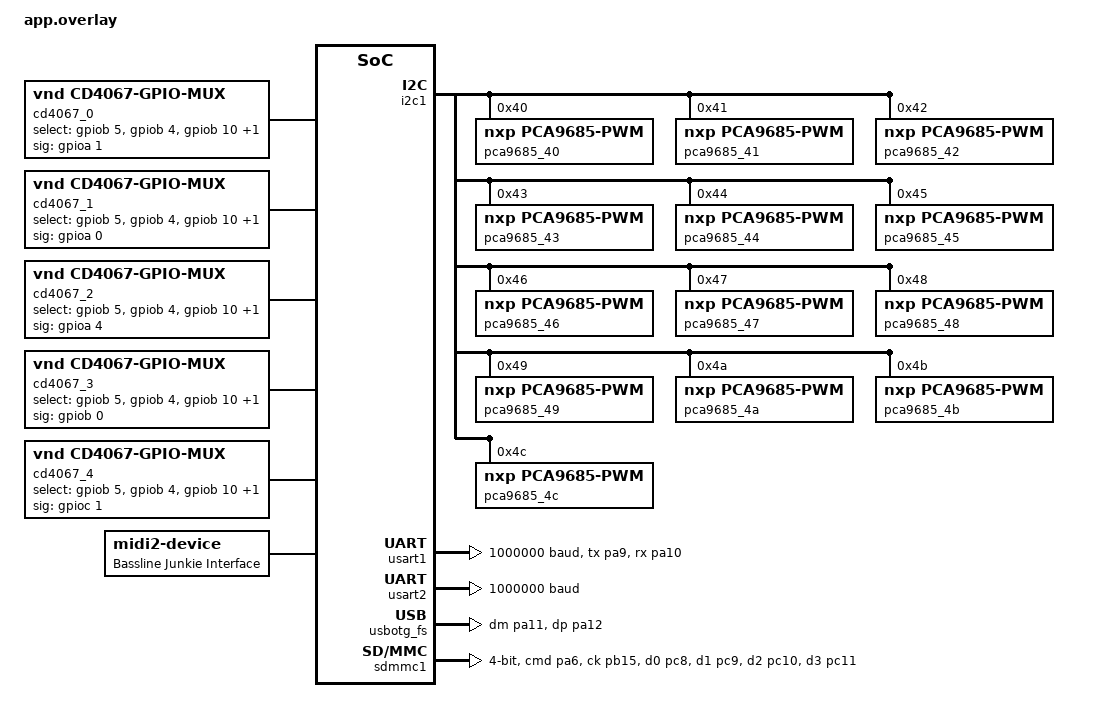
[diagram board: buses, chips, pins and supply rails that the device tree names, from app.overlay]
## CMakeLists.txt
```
cmake_minimum_required(VERSION 3.20.0)

list(APPEND ZEPHYR_EXTRA_MODULES ${CMAKE_CURRENT_SOURCE_DIR}/../cd4067)

find_package(Zephyr REQUIRED HINTS $ENV{ZEPHYR_BASE})
project(bassline_junkie_interface)

target_include_directories(app PRIVATE src)

target_sources(app PRIVATE
    src/PresetStorage.cpp
    src/blocks/Preset.cpp
    src/blocks/UI_BLOCK.cpp
    src/blocks/MOD.cpp
    src/Button.cpp
    src/Encoder.cpp
    src/Knob.cpp
    src/main.cpp
    src/MIDI.cpp
    src/LEDS.cpp
    src/MUX.cpp
    src/SDCard.cpp
    src/UART.cpp
    src/USB_MIDI.cpp
    src/usb_midi_init.c
    src/utils.cpp)
```

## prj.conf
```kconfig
CONFIG_GPIO=y
CONFIG_CD4067=y
CONFIG_CRC=y
CONFIG_MAIN_STACK_SIZE=4096
CONFIG_I2C=y
CONFIG_PWM=y
CONFIG_SERIAL=y
CONFIG_DISK_ACCESS=y
CONFIG_DISK_DRIVERS=y
CONFIG_DISK_DRIVER_SDMMC=y
CONFIG_FILE_SYSTEM=y
CONFIG_FAT_FILESYSTEM_ELM=y
CONFIG_FS_FATFS_LFN=y
CONFIG_CONSOLE=y
CONFIG_UART_CONSOLE=y
CONFIG_PRINTK=y
CONFIG_LOG=y
CONFIG_LOG_MODE_IMMEDIATE=y
CONFIG_USE_DT_CODE_PARTITION=y

# USB MIDI
CONFIG_USB_DEVICE_STACK_NEXT=y
CONFIG_USBD_MIDI2_CLASS=y
CONFIG_MIDI2_UMP_STREAM_RESPONDER=y
CONFIG_UDC_STM32=y
CONFIG_USBD_THREAD_STACK_SIZE=4096
CONFIG_USBD_LOG_LEVEL_WRN=y
CONFIG_UDC_DRIVER_LOG_LEVEL_ERR=y
```

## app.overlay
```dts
/ {
    aliases {
        mux0 = &cd4067_0;
        mux1 = &cd4067_1;
        mux2 = &cd4067_2;
        mux3 = &cd4067_3;
        mux4 = &cd4067_4;
    };

    cd4067_0: cd4067_mux {
        compatible = "vnd,cd4067-gpio-mux";
        status = "okay";
        select-gpios = <&gpiob 5 GPIO_ACTIVE_HIGH>,
                       <&gpiob 4 GPIO_ACTIVE_HIGH>,
                       <&gpiob 10 GPIO_ACTIVE_HIGH>,
                       <&gpioa 8 GPIO_ACTIVE_HIGH>;
        sig-gpios = <&gpioa 1 GPIO_ACTIVE_HIGH>;
    };

    cd4067_1: cd4067_mux_1 {
        compatible = "vnd,cd4067-gpio-mux";
        status = "okay";
        select-gpios = <&gpiob 5 GPIO_ACTIVE_HIGH>,
                       <&gpiob 4 GPIO_ACTIVE_HIGH>,
                       <&gpiob 10 GPIO_ACTIVE_HIGH>,
                       <&gpioa 8 GPIO_ACTIVE_HIGH>;
        sig-gpios = <&gpioa 0 GPIO_ACTIVE_HIGH>;
    };

    cd4067_2: cd4067_mux_2 {
        compatible = "vnd,cd4067-gpio-mux";
        status = "okay";
        select-gpios = <&gpiob 5 GPIO_ACTIVE_HIGH>,
                       <&gpiob 4 GPIO_ACTIVE_HIGH>,
                       <&gpiob 10 GPIO_ACTIVE_HIGH>,
                       <&gpioa 8 GPIO_ACTIVE_HIGH>;
        sig-gpios = <&gpioa 4 GPIO_ACTIVE_HIGH>;
    };

    cd4067_3: cd4067_mux_3 {
        compatible = "vnd,cd4067-gpio-mux";
        status = "okay";
        select-gpios = <&gpiob 5 GPIO_ACTIVE_HIGH>,
                       <&gpiob 4 GPIO_ACTIVE_HIGH>,
                       <&gpiob 10 GPIO_ACTIVE_HIGH>,
                       <&gpioa 8 GPIO_ACTIVE_HIGH>;
        sig-gpios = <&gpiob 0 GPIO_ACTIVE_HIGH>;
    };

    cd4067_4: cd4067_mux_4 {
        compatible = "vnd,cd4067-gpio-mux";
        status = "okay";
        select-gpios = <&gpiob 5 GPIO_ACTIVE_HIGH>,
                       <&gpiob 4 GPIO_ACTIVE_HIGH>,
                       <&gpiob 10 GPIO_ACTIVE_HIGH>,
                       <&gpioa 8 GPIO_ACTIVE_HIGH>;
        sig-gpios = <&gpioc 1 GPIO_ACTIVE_HIGH>;
    };
};

&i2c1 {
    status = "okay";

    pca9685_40: pca9685@40 {
        status = "okay";
        compatible = "nxp,pca9685-pwm";
        reg = <0x40>;
        #pwm-cells = <3>;
    };

    pca9685_41: pca9685@41 {
        status = "okay";
        compatible = "nxp,pca9685-pwm";
        reg = <0x41>;
        #pwm-cells = <3>;
    };

    pca9685_42: pca9685@42 {
        status = "okay";
        compatible = "nxp,pca9685-pwm";
        reg = <0x42>;
        #pwm-cells = <3>;
    };

    pca9685_43: pca9685@43 {
        status = "okay";
        compatible = "nxp,pca9685-pwm";
        reg = <0x43>;
        #pwm-cells = <3>;
    };

    pca9685_44: pca9685@44 {
        status = "okay";
        compatible = "nxp,pca9685-pwm";
        reg = <0x44>;
        #pwm-cells = <3>;
    };

    pca9685_45: pca9685@45 {
        status = "okay";
        compatible = "nxp,pca9685-pwm";
        reg = <0x45>;
        #pwm-cells = <3>;
    };

    pca9685_46: pca9685@46 {
        status = "okay";
        compatible = "nxp,pca9685-pwm";
        reg = <0x46>;
        #pwm-cells = <3>;
    };

    pca9685_47: pca9685@47 {
        status = "okay";
        compatible = "nxp,pca9685-pwm";
        reg = <0x47>;
        #pwm-cells = <3>;
    };

    pca9685_48: pca9685@48 {
        status = "okay";
        compatible = "nxp,pca9685-pwm";
        reg = <0x48>;
        #pwm-cells = <3>;
    };

    pca9685_49: pca9685@49 {
        status = "okay";
        compatible = "nxp,pca9685-pwm";
        reg = <0x49>;
        #pwm-cells = <3>;
    };

    pca9685_4a: pca9685@4a {
        status = "okay";
        compatible = "nxp,pca9685-pwm";
        reg = <0x4a>;
        #pwm-cells = <3>;
    };

    pca9685_4b: pca9685@4b {
        status = "okay";
        compatible = "nxp,pca9685-pwm";
        reg = <0x4b>;
        #pwm-cells = <3>;
    };

    pca9685_4c: pca9685@4c {
        status = "okay";
        compatible = "nxp,pca9685-pwm";
        reg = <0x4c>;
        #pwm-cells = <3>;
    };
};

&usart1 {
    pinctrl-0 = <&usart1_tx_pa9 &usart1_rx_pa10>;
    pinctrl-names = "default";
    current-speed = <1000000>;
    status = "okay";
};

&usart2 {
    current-speed = <1000000>;
};

&usbotg_fs {
    pinctrl-0 = <&usb_otg_fs_dm_pa11 &usb_otg_fs_dp_pa12>;
    pinctrl-names = "default";
    status = "okay";
};

&spi1 {
    status = "disabled";
};

&sdmmc1 {
    pinctrl-0 = <&sdio_cmd_pa6 &sdio_ck_pb15
                 &sdio_d0_pc8 &sdio_d1_pc9
                 &sdio_d2_pc10 &sdio_d3_pc11>;
    pinctrl-names = "default";
    bus-width = <4>;
    clk-div = <1>;
    status = "okay";
    disk-name = "SD";
};

/ {
    usb_midi: usb_midi {
        compatible = "zephyr,midi2-device";
        status = "okay";
        #address-cells = <1>;
        #size-cells = <1>;
        label = "Bassline Junkie Interface";

        midi_in_out@0 {
            reg = <0 1>;
            protocol = "midi1-up-to-128b";
            label = "MIDI";
        };
    };
};
```

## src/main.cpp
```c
#include <zephyr/devicetree.h>
#include <zephyr/drivers/gpio.h>
#include <zephyr/kernel.h>
#include <zephyr/logging/log.h>

#include "blocks/OSC.h"
#include "blocks/ADSR.h"
#include "blocks/LFO.h"
#include "blocks/FLT.h"
#include "blocks/MOD.h"
#include "blocks/LED_DISP.h"
#include "blocks/VOL.h"
#include "PresetStorage.h"
#include "blocks/Preset.h"
#include "MUX.h"
#include "LEDS.h"
#include "MIDI.h"
#include "UART.h"
#include "USB_MIDI.h"
#include "SDCard.h"

LOG_MODULE_REGISTER(app, LOG_LEVEL_INF);

#define LED0_NODE DT_ALIAS(led0)

#if !DT_NODE_HAS_STATUS(LED0_NODE, okay)
#error "This board does not define a usable led0 alias"
#endif

static const struct gpio_dt_spec led = GPIO_DT_SPEC_GET(LED0_NODE, gpios);

static const size_t input_thread_stack_size = 10240U;
static const int input_thread_priority = -1;
static const int input_poll_interval_ms = 5;
K_THREAD_STACK_DEFINE(input_thread_stack, input_thread_stack_size);
static struct k_thread input_thread_data;
static K_SEM_DEFINE(input_thread_started, 0, 1);

static int input_thread_status = 0;

static void input_thread(void *p1, void *, void *) {
    UART uart1;
    MIDI midi;
    USB_MIDI usb_midi;
    MUX mux;
    LEDSController leds;
    OSC osc;
    ADSR adsr;
    LFO lfo;
    FLT flt;
    MOD mod;
    LED_DISP led_disp;
    VOL vol;
    SDCard sd_card;
    PresetStorage preset_storage;
    Preset preset;

    int ret = mux.init();
    if (ret < 0) {
        LOG_ERR("Failed to initialize input mux: %d", ret);
        input_thread_status = ret;
        k_sem_give(&input_thread_started);
        return;
    }
    ret = leds.init();
    if (ret < 0) {
        LOG_ERR("Failed to initialize LED controller: %d", ret);
        input_thread_status = ret;
        k_sem_give(&input_thread_started);
        return;
    }
    led_disp.init(leds);

    ret = sd_card.init();
    if (ret == 0) ret = preset_storage.init(sd_card);
    if (ret < 0) {
        LOG_ERR("Required SD preset storage is unavailable: %d", ret);
        led_disp.show_error_latched();
        input_thread_status = ret;
        k_sem_give(&input_thread_started);
        while (1) k_msleep(1000);
    }

    ret = uart1.init();
    if (ret < 0) {
        LOG_ERR("Failed to initialize UART1: %d", ret);
        input_thread_status = ret;
        k_sem_give(&input_thread_started);
        return;
    }
    ret = midi.init(uart1);
    if (ret < 0) {
        LOG_ERR("Failed to initialize MIDI transport: %d", ret);
        input_thread_status = ret;
        k_sem_give(&input_thread_started);
        return;
    }

    ret = usb_midi.init();
    if (ret < 0) {
        LOG_ERR("Failed to initialize USB MIDI: %d", ret);
        input_thread_status = ret;
        k_sem_give(&input_thread_started);
        return;
    }

    led_disp.wait_for_dsp(uart1);

    osc.init(midi, leds, mux, led_disp);
    adsr.init(midi, leds, mux, led_disp);
    lfo.init(midi, leds, mux, led_disp);
    flt.init(midi, leds, mux, led_disp);
    osc.bind_mod_capture(mod);
    flt.bind_mod_capture(mod);
    mod.init(midi, leds, mux, osc, flt, led_disp);
    vol.init(midi, leds, mux, led_disp);
    ret = preset.init(preset_storage, midi, leds, mux, led_disp, adsr, flt, lfo, mod, osc, vol);
    if (ret < 0) {
        LOG_ERR("Failed to initialize presets: %d", ret);
        led_disp.show_error_latched();
        input_thread_status = ret;
        k_sem_give(&input_thread_started);
        while (1) k_msleep(1000);
    }

    input_thread_status = 0;
    k_sem_give(&input_thread_started);

    while (1) {
        ret = mux.update();
        if (ret < 0) {
            LOG_ERR("Failed to read inputs: %d", ret);
            return;
        }

        mod.update();
        osc.update();
        adsr.update();
        lfo.update();
        flt.update();
        vol.update();
        mod.poll_mod_destination_selection();
        led_disp.update();
        preset.update();

        USB_MIDI::Message usb_msg;
        while (usb_midi.receive(&usb_msg) == 0) {
            switch (usb_msg.command) {
            case 0x9U:
                midi.send_note_on(usb_msg.data1, usb_msg.data2,
                                  usb_msg.channel);
                break;
            case 0x8U:
                midi.send_note_off(usb_msg.data1, usb_msg.data2,
                                   usb_msg.channel);
                break;
            case 0xBU:
                midi.send_cc(usb_msg.data1, usb_msg.data2,
                             usb_msg.channel);
                break;
            default:
                break;
            }
        }

        k_msleep(input_poll_interval_ms);
    }
}

int main(void)
{
    int ret;
    if (!gpio_is_ready_dt(&led)) {
        LOG_ERR("LED GPIO device is not ready");
        return 0;
    }

    ret = gpio_pin_configure_dt(&led, GPIO_OUTPUT_INACTIVE);
    if (ret < 0) {
        LOG_ERR("Failed to configure LED pin: %d", ret);
        return 0;
    }

    LOG_INF("Bassline Junkie Interface");
    LOG_INF("Console TX ready on ttyACM0");

    k_thread_create(&input_thread_data,
                    input_thread_stack,
                    K_THREAD_STACK_SIZEOF(input_thread_stack),
                    input_thread,
                    nullptr,
                    nullptr,
                    nullptr,
                    input_thread_priority,
                    0,
                    K_NO_WAIT);

    k_sem_take(&input_thread_started, K_FOREVER);
    if (input_thread_status < 0) {
        return 0;
    }

    while (1) {
        ret = gpio_pin_toggle_dt(&led);
        if (ret < 0) {
            LOG_ERR("Failed to toggle LED: %d", ret);
            return 0;
        }

        k_msleep(1000);
    }
}
```

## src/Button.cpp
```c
#include "Button.h"

#include <errno.h>

static const uint8_t button_led_off_percent = 0U;
static const uint8_t button_led_on_percent = 100U;

int Button::init(MUX &inputs, const Config &config, LEDSController &leds)
{
    if ((config.mux_index >= MUX::mux_count) ||
        (config.pin >= 16U) ||
        (config.led_number >= LEDSController::led_count)) {
        return -EINVAL;
    }

    inputs_ = &inputs;
    leds_ = &leds;
    mux_index_ = config.mux_index;
    pin_ = config.pin;
    led_number_ = config.led_number;
    pressed_ = false;

    return set_led_val(button_led_off_percent);
}

int Button::update(button_msg &msg)
{
    msg = {};

    if (inputs_ == nullptr) {
        return -EACCES;
    }

    const bool previous_pressed = pressed_;
    const uint16_t state = inputs_->state(mux_index_);
    pressed_ = ((state >> pin_) & 0x1U) == 0U;
    msg.switch_changed = (pressed_ != previous_pressed);

    return 0;
}

bool Button::get_state() const
{
    return pressed_;
}

int Button::set_led_val(uint8_t percent)
{
    if (leds_ == nullptr) {
        return -EACCES;
    }

    return leds_->set_channel_percent(led_number_, percent);
}
```

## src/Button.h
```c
#ifndef SRC_BUTTON_H_
#define SRC_BUTTON_H_

#include "MUX.h"
#include "LEDS.h"

#include <stddef.h>
#include <stdint.h>

/**
 * @brief Tracks one active-low button sourced from one cached input bit.
 *
 * The button is bound to one cached mux state inside an @ref MUX
 * and one LED channel inside an @ref LEDSController through @ref init, then
 * advanced by calling @ref update repeatedly after the controller has
 * refreshed its cached inputs.
 */
class Button {
public:
    /**
     * @brief Reports which button outputs changed during one @ref update call.
     */
    struct button_msg {
        /** @brief Set when the sampled button state changed. */
        bool switch_changed = false;
    };

    /**
     * @brief Groups the button-specific binding parameters.
     */
    struct Config {
        /** @brief Cached mux index containing the button bit. */
        size_t mux_index = 0U;

        /** @brief Channel number used for the button source bit. */
        uint8_t pin = 0U;

        /** @brief Global LED channel assigned to this button. */
        size_t led_number = 0U;
    };

    /**
     * @brief Binds the button to one cached mux state, one source channel, and one LED.
     *
     * The caller retains ownership of @p inputs and @p leds and must keep both
     * alive and initialized for the lifetime of this button instance.
     *
     * @param inputs Mux holding the cached input masks.
     * @param config Button-specific channel and LED configuration.
     * @param leds LED controller used to mirror the button state.
     *
     * @retval 0 The button configuration is valid and the LED was cleared.
     * @retval -EINVAL The mux index, channel number, or LED channel is out of range.
     * @retval negative Error propagated from @ref LEDSController::set_channel_percent.
     */
    int init(MUX &inputs, const Config &config, LEDSController &leds);

    /**
     * @brief Reads the configured cached mux state and advances the button state.
     *
     * @param msg Per-update change flags populated from the latest sampled
     *        button state.
     *
     * @retval 0 The cached mux state was read and @p msg was filled in.
     * @retval -EACCES The button has not been initialized.
     */
    int update(button_msg &msg);

    /**
     * @brief Returns the current sampled button state.
     *
     * @return `true` when the configured raw input bit is `0` (pressed),
     *         otherwise `false`.
     */
    bool get_state() const;

    /**
     * @brief Drives the LED assigned to this button.
     *
     * @param percent Brightness percentage in the range `[0, 100]`.
     *
     * @retval 0 The LED was updated successfully.
     * @retval -EACCES The button LED binding has not been initialized.
     * @retval negative Error propagated from @ref LEDSController::set_channel_percent.
     */
    int set_led_val(uint8_t percent);

private:
    /** @brief Borrowed mux used to read cached input states. */
    MUX *inputs_ = nullptr;

    /** @brief Borrowed LED controller used to mirror the button state. */
    LEDSController *leds_ = nullptr;

    /** @brief Index of the configured cached mux state inside @ref inputs_. */
    size_t mux_index_ = 0U;

    /** @brief MUX channel number carrying the button bit. */
    uint8_t pin_ = 0U;

    /** @brief Global LED channel assigned to this button. */
    size_t led_number_ = 0U;

    /** @brief Current sampled button state. */
    bool pressed_ = false;
};

#endif /* SRC_BUTTON_H_ */
```

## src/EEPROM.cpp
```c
#include "EEPROM.h"

#include <errno.h>
#include <stddef.h>
#include <string.h>

#include <array>

#include <zephyr/logging/log.h>
#include <zephyr/storage/flash_map.h>
#include <zephyr/sys/crc.h>
#include <zephyr/sys/util.h>

LOG_MODULE_REGISTER(EEPROM, LOG_LEVEL_INF);

namespace {

constexpr uint32_t record_magic = 0x42535052U;
constexpr uint16_t record_version = PresetSnapshot::version;
constexpr uint8_t record_kind_preset = 0U;
constexpr uint8_t record_kind_startup_slot = 1U;
constexpr size_t record_header_size = sizeof(uint32_t) + sizeof(uint16_t) + sizeof(uint8_t) +
                                      sizeof(uint8_t) + sizeof(uint8_t);
constexpr size_t record_prefix_size = record_header_size + sizeof(PresetSnapshot);
constexpr size_t record_startup_prefix_size = record_header_size;
constexpr size_t min_record_storage_size = record_prefix_size + sizeof(uint32_t);
constexpr size_t max_record_storage_size = 1024U;

struct SlotCache {
    std::array<PresetSnapshot, EEPROM::preset_count> snapshots = {};
    std::array<uint8_t, EEPROM::preset_count / 8U> valid_mask = {};
    uint8_t startup_slot = 0U;
    bool startup_slot_valid = false;
};

static SlotCache cache = {};
static size_t next_record_offset = 0U;
static bool needs_compaction = false;

bool slot_is_valid(uint8_t index)
{
    const size_t byte_index = index / 8U;
    const uint8_t bit_mask = static_cast<uint8_t>(1U << (index % 8U));
    return (cache.valid_mask[byte_index] & bit_mask) != 0U;
}

void set_slot_valid(uint8_t index)
{
    const size_t byte_index = index / 8U;
    const uint8_t bit_mask = static_cast<uint8_t>(1U << (index % 8U));
    cache.valid_mask[byte_index] |= bit_mask;
}

void clear_cache()
{
    cache = {};
    next_record_offset = 0U;
    needs_compaction = false;
}

size_t record_storage_size(const struct flash_area *flash_area)
{
    return ROUND_UP(min_record_storage_size, flash_area_align(flash_area));
}

bool is_erased_bytes(const uint8_t *bytes, size_t length, uint8_t erased_value)
{
    for (size_t i = 0U; i < length; ++i) {
        if (bytes[i] != erased_value) {
            return false;
        }
    }

    return true;
}

uint32_t record_crc(const uint8_t *bytes, size_t length)
{
    return crc32_ieee(bytes, length);
}

bool read_record(const struct flash_area *flash_area,
                 size_t offset,
                 size_t storage_size,
                 uint8_t erased_value,
                 uint8_t *buffer)
{
    if (flash_area_read(flash_area, static_cast<off_t>(offset), buffer, storage_size) < 0) {
        return false;
    }

    return !is_erased_bytes(buffer, storage_size, erased_value);
}

enum class record_validation_result : uint8_t {
    valid,
    old_version,
    invalid,
};

record_validation_result validate_record(const uint8_t *buffer,
                                         size_t storage_size,
                                         uint8_t &kind,
                                         uint8_t &slot)
{
    uint32_t magic = 0U;
    uint16_t version = 0U;
    uint8_t read_kind = 0U;
    uint8_t read_slot = 0U;
    uint8_t reserved = 0U;
    uint32_t stored_crc = 0U;

    size_t offset = 0U;
    memcpy(&magic, buffer + offset, sizeof(magic));
    offset += sizeof(magic);
    memcpy(&version, buffer + offset, sizeof(version));
    offset += sizeof(version);
    memcpy(&read_kind, buffer + offset, sizeof(read_kind));
    offset += sizeof(read_kind);
    memcpy(&read_slot, buffer + offset, sizeof(read_slot));
    offset += sizeof(read_slot);
    memcpy(&reserved, buffer + offset, sizeof(reserved));
    offset += sizeof(reserved);

    if ((magic != record_magic) || (read_slot >= EEPROM::preset_count)) {
        return record_validation_result::invalid;
    }

    if (version != record_version) {
        return record_validation_result::old_version;
    }

    const size_t crc_offset = (read_kind == record_kind_preset)
        ? record_prefix_size
        : (read_kind == record_kind_startup_slot)
              ? record_startup_prefix_size
              : 0U;
    if ((crc_offset == 0U) || (reserved != 0U) ||
        (storage_size < (crc_offset + sizeof(stored_crc)))) {
        return record_validation_result::invalid;
    }
    memcpy(&stored_crc, buffer + crc_offset, sizeof(stored_crc));

    kind = read_kind;
    slot = read_slot;

    const uint32_t computed_crc = record_crc(buffer, crc_offset);
    return (computed_crc == stored_crc)
        ? record_validation_result::valid
        : record_validation_result::invalid;
}

void write_record_header(uint8_t *buffer, uint8_t kind, uint8_t slot, size_t &write_offset)
{
    const uint32_t magic = record_magic;
    const uint16_t version = record_version;
    const uint8_t reserved = 0U;

    memcpy(buffer + write_offset, &magic, sizeof(magic));
    write_offset += sizeof(magic);
    memcpy(buffer + write_offset, &version, sizeof(version));
    write_offset += sizeof(version);
    memcpy(buffer + write_offset, &kind, sizeof(kind));
    write_offset += sizeof(kind);
    memcpy(buffer + write_offset, &slot, sizeof(slot));
    write_offset += sizeof(slot);
    memcpy(buffer + write_offset, &reserved, sizeof(reserved));
    write_offset += sizeof(reserved);
}

void unpack_snapshot(const uint8_t *buffer, PresetSnapshot &snapshot)
{
    const size_t offset = record_header_size;
    memcpy(&snapshot, buffer + offset, sizeof(PresetSnapshot));
}

int write_preset_record(const struct flash_area *flash_area,
                        size_t offset,
                        uint8_t slot,
                        const PresetSnapshot &snapshot)
{
    const size_t storage_size = record_storage_size(flash_area);
    if (storage_size > max_record_storage_size) {
        return -ENOTSUP;
    }

    std::array<uint8_t, max_record_storage_size> buffer = {};
    buffer.fill(flash_area_erased_val(flash_area));

    size_t write_offset = 0U;
    const uint8_t kind = record_kind_preset;
    write_record_header(buffer.data(), kind, slot, write_offset);
    memcpy(buffer.data() + write_offset, &snapshot, sizeof(snapshot));

    const uint32_t crc = record_crc(buffer.data(), record_prefix_size);
    memcpy(buffer.data() + record_prefix_size, &crc, sizeof(crc));

    return flash_area_write(flash_area,
                            static_cast<off_t>(offset),
                            buffer.data(),
                            storage_size);
}

int write_startup_record(const struct flash_area *flash_area, size_t offset, uint8_t slot)
{
    const size_t storage_size = record_storage_size(flash_area);
    if (storage_size > max_record_storage_size) {
        return -ENOTSUP;
    }

    std::array<uint8_t, max_record_storage_size> buffer = {};
    buffer.fill(flash_area_erased_val(flash_area));

    size_t write_offset = 0U;
    const uint8_t kind = record_kind_startup_slot;
    write_record_header(buffer.data(), kind, slot, write_offset);

    const uint32_t crc = record_crc(buffer.data(), record_startup_prefix_size);
    memcpy(buffer.data() + record_startup_prefix_size, &crc, sizeof(crc));

    return flash_area_write(flash_area,
                            static_cast<off_t>(offset),
                            buffer.data(),
                            storage_size);
}

int compact_log(const struct flash_area *flash_area)
{
    int ret = flash_area_erase(flash_area, 0, flash_area->fa_size);
    if (ret < 0) {
        return ret;
    }

    const size_t storage_size = record_storage_size(flash_area);
    size_t offset = 0U;

    for (uint8_t slot = 0U; slot < EEPROM::preset_count; ++slot) {
        if (!slot_is_valid(slot)) {
            continue;
        }

        ret = write_preset_record(flash_area, offset, slot, cache.snapshots[slot]);
        if (ret < 0) {
            return ret;
        }

        offset += storage_size;
    }

    if (cache.startup_slot_valid) {
        ret = write_startup_record(flash_area, offset, cache.startup_slot);
        if (ret < 0) {
            return ret;
        }

        offset += storage_size;
    }

    next_record_offset = offset;
    needs_compaction = false;
    return 0;
}

int ensure_append_space(const struct flash_area *flash_area, size_t storage_size)
{
    const bool has_space = (next_record_offset + storage_size) <= flash_area->fa_size;
    if (!needs_compaction && has_space) {
        return 0;
    }

    const int ret = compact_log(flash_area);
    if (ret < 0) {
        LOG_ERR("Failed to compact preset log: %d", ret);
    }
    return ret;
}

} // namespace

int EEPROM::init()
{
    initialized_ = false;
    flash_area_ = nullptr;

    int ret = flash_area_open(FIXED_PARTITION_ID(preset_partition), &flash_area_);
    if (ret < 0) {
        LOG_ERR("Failed to open preset partition: %d", ret);
        clear_cache();
        return ret;
    }

    if (!flash_area_device_is_ready(flash_area_)) {
        LOG_ERR("Preset partition device is not ready");
        clear_cache();
        return -ENODEV;
    }

    const size_t storage_size = record_storage_size(flash_area_);
    if ((storage_size == 0U) || (storage_size > max_record_storage_size) ||
        (storage_size * (EEPROM::preset_count + 1U) > flash_area_->fa_size)) {
        LOG_ERR("Preset record size is invalid for partition");
        clear_cache();
        return -ENOSPC;
    }

    clear_cache();

    std::array<uint8_t, max_record_storage_size> buffer = {};
    const uint8_t erased_value = flash_area_erased_val(flash_area_);
    size_t old_version_records = 0U;
    size_t invalid_records = 0U;

    for (size_t offset = 0U; (offset + storage_size) <= flash_area_->fa_size; offset += storage_size) {
        if (!read_record(flash_area_, offset, storage_size, erased_value, buffer.data())) {
            continue;
        }

        uint8_t kind = 0U;
        uint8_t slot = 0U;
        const record_validation_result validation =
            validate_record(buffer.data(), storage_size, kind, slot);
        if (validation != record_validation_result::valid) {
            needs_compaction = true;

            if (validation == record_validation_result::old_version) {
                ++old_version_records;
            } else {
                ++invalid_records;
            }
            continue;
        }

        if (kind == record_kind_preset) {
            unpack_snapshot(buffer.data(), cache.snapshots[slot]);
            set_slot_valid(slot);
        } else if (kind == record_kind_startup_slot) {
            cache.startup_slot = slot;
            cache.startup_slot_valid = true;
        }
        next_record_offset = offset + storage_size;
    }

    if (needs_compaction) {
        if ((old_version_records > 0U) || (invalid_records > 0U)) {
            LOG_WRN("Compacting preset log, skipping %u old-version and %u invalid records",
                    static_cast<unsigned int>(old_version_records),
                    static_cast<unsigned int>(invalid_records));
        }

        ret = compact_log(flash_area_);
        if (ret < 0) {
            LOG_ERR("Failed to compact preset log during init: %d", ret);
            clear_cache();
            return ret;
        }
    }

    initialized_ = true;
    LOG_INF("Loaded preset log from flash");
    return 0;
}

int EEPROM::load(uint8_t index, PresetSnapshot &snapshot) const
{
    if (index >= EEPROM::preset_count) {
        return -EINVAL;
    }

    if (!initialized_ || !slot_is_valid(index)) {
        snapshot = default_preset_snapshot();
        return 0;
    }

    snapshot = cache.snapshots[index];
    return 0;
}

int EEPROM::save(uint8_t index, const PresetSnapshot &snapshot)
{
    if (index >= EEPROM::preset_count) {
        return -EINVAL;
    }

    if (!initialized_) {
        return -EACCES;
    }

    const size_t storage_size = record_storage_size(flash_area_);
    const int ret = ensure_append_space(flash_area_, storage_size);
    if (ret < 0) {
        return ret;
    }

    const int write_ret = write_preset_record(flash_area_, next_record_offset, index, snapshot);
    if (write_ret < 0) {
        LOG_ERR("Failed to append preset record: %d", write_ret);
        return write_ret;
    }

    cache.snapshots[index] = snapshot;
    set_slot_valid(index);
    next_record_offset += storage_size;
    return 0;
}

int EEPROM::load_startup_slot(uint8_t &slot) const
{
    slot = cache.startup_slot_valid ? cache.startup_slot : 0U;
    if (cache.startup_slot_valid) {
        LOG_INF("Startup preset slot %u loaded from flash", static_cast<unsigned int>(slot));
    } else {
        LOG_INF("Startup preset slot not stored yet, using preset 0");
    }
    return 0;
}

int EEPROM::save_startup_slot(uint8_t slot)
{
    if (slot >= EEPROM::preset_count) {
        return -EINVAL;
    }

    if (!initialized_) {
        return -EACCES;
    }

    if (cache.startup_slot_valid && (cache.startup_slot == slot)) {
        return 0;
    }

    const size_t storage_size = record_storage_size(flash_area_);
    const int ret = ensure_append_space(flash_area_, storage_size);
    if (ret < 0) {
        return ret;
    }

    const int write_ret = write_startup_record(flash_area_, next_record_offset, slot);
    if (write_ret < 0) {
        LOG_ERR("Failed to append startup slot record: %d", write_ret);
        return write_ret;
    }

    cache.startup_slot = slot;
    cache.startup_slot_valid = true;
    next_record_offset += storage_size;
    return 0;
}
```

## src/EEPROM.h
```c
#ifndef SRC_EEPROM_H_
#define SRC_EEPROM_H_

#include "PresetSnapshot.h"

#include <cstdint>

struct flash_area;

/**
 * @brief Flash-backed preset storage helper.
 */
class EEPROM {
public:
    /** @brief Number of preset slots stored in flash. */
    static constexpr uint8_t preset_count = 128U;

    /** @brief Constructs an uninitialized flash backend. */
    EEPROM() = default;

    /**
     * @brief Opens the preset flash partition and rebuilds the in-RAM cache.
     *
     * @retval 0 The flash backend is ready.
     * @retval negative Error propagated from the flash map or flash driver.
     */
    int init();

    /**
     * @brief Loads one preset slot from the cache.
     *
     * Unsaved slots return the canonical all-zero snapshot.
     *
     * @param index Preset slot in the range `[0, preset_count)`.
     * @param snapshot Receives the loaded snapshot.
     *
     * @retval 0 The slot was loaded successfully.
     * @retval -EINVAL The requested slot is out of range.
     */
    int load(uint8_t index, PresetSnapshot &snapshot) const;

    /**
     * @brief Saves one preset slot by appending one flash record.
     *
     * @param index Preset slot in the range `[0, preset_count)`.
     * @param snapshot Snapshot to persist.
     *
     * @retval 0 The preset slot was written successfully.
     * @retval negative Error propagated from the flash driver.
     */
    int save(uint8_t index, const PresetSnapshot &snapshot);

    /**
     * @brief Loads the preset slot that should be restored at startup.
     *
     * If no startup slot has been stored yet, this returns slot `0`.
     *
     * @param slot Receives the stored startup slot.
     *
     * @retval 0 The startup slot was returned successfully.
     */
    int load_startup_slot(uint8_t &slot) const;

    /**
     * @brief Stores the preset slot that should be restored at startup.
     *
     * This appends a small metadata record to the same flash journal used by
     * preset snapshots.
     *
     * @param slot Preset slot to restore on the next boot.
     *
     * @retval 0 The startup slot was written successfully.
     * @retval negative Error propagated from the flash driver.
     */
    int save_startup_slot(uint8_t slot);

    /**
     * @brief Loads the global VOL knob value.
     *
     * If no value has been stored yet, this returns `0`.
     *
     * @param value Receives the stored VOL value.
     *
     * @retval 0 The VOL value was returned successfully.
     */
    int load_global_vol(uint8_t &value) const;

    /**
     * @brief Stores the global VOL knob value.
     *
     * This appends a small metadata record to the same flash journal used by
     * preset snapshots.
     *
     * @param value Global VOL value to restore on the next boot.
     *
     * @retval 0 The VOL value was written successfully.
     * @retval negative Error propagated from the flash driver.
     */
    int save_global_vol(uint8_t value);

private:
    /** @brief Open flash area backing the preset image. */
    const struct flash_area *flash_area_ = nullptr;

    /** @brief Tracks whether @ref init completed successfully. */
    bool initialized_ = false;
};

#endif /* SRC_EEPROM_H_ */
```

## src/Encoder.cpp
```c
#include "Encoder.h"

#include <errno.h>

int Encoder::init(MUX &inputs, size_t mux_index, uint8_t pin_a, uint8_t pin_b)
{
    if ((mux_index >= MUX::mux_count) || (pin_a >= 16U) || (pin_b >= 16U) ||
        (pin_a == pin_b)) {
        return -EINVAL;
    }

    inputs_ = &inputs;
    mux_index_ = mux_index;
    pin_a_ = pin_a;
    pin_b_ = pin_b;
    seeded_ = false;
    previous_ab_ = 0U;
    delta_ = 0;
    position_ = 0;

    return 0;
}

int Encoder::update()
{
    if (inputs_ == nullptr) {
        return -EACCES;
    }

    const uint16_t mux_state = inputs_->state(mux_index_);

    // Sample the configured mux channels and pack them into a 2-bit AB state.
    // Bit 0 holds phase A and bit 1 holds phase B so the state can be compared
    // directly against the previous sample by transition_().
    const uint8_t current_ab = (uint8_t)((((mux_state >> pin_a_) & 0x1U) << 0) |
                                         (((mux_state >> pin_b_) & 0x1U) << 1));

    // Reset the per-update delta. If no valid quadrature edge is detected in
    // this call, delta() will return 0.
    delta_ = 0;

    if (!seeded_) {
        // The first sample only establishes the initial AB state. We do not
        // report movement until we have two samples to compare.
        previous_ab_ = current_ab;
        seeded_ = true;
        return 0;
    }

    // Translate the previous/current AB pair into one quarter-step of motion:
    // -1 for one direction, +1 for the other, or 0 for no movement / invalid
    // transition. Invalid transitions can happen when the state repeats or
    // mechanical bounce skips an expected intermediate state.
    const int8_t quarter_step = transition_(previous_ab_, current_ab);
    previous_ab_ = current_ab;

    // In quarter-step mode we expose the transition result directly. Each valid
    // edge updates both the one-shot delta and the accumulated position.
    delta_ = quarter_step;
    position_ += quarter_step;

    return 0;
}

int32_t Encoder::delta() const
{
    return delta_;
}

int32_t Encoder::position() const
{
    return position_;
}

int8_t Encoder::transition_(uint8_t previous_ab, uint8_t current_ab)
{
    // The 4-bit index is previous AB in bits 3:2 and current AB in bits 1:0.
    // Valid quadrature edges map to +/-1 quarter-steps; repeated or illegal
    // state changes map to 0 so contact bounce and skipped states are ignored.
    static const int8_t transition_table[16] = {
        0, -1, 1, 0,
        1, 0, 0, -1,
        -1, 0, 0, 1,
        0, 1, -1, 0,
    };

    return transition_table[(previous_ab << 2) | current_ab];
}
```

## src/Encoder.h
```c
#ifndef SRC_ENCODER_H_
#define SRC_ENCODER_H_

#include "MUX.h"

#include <stddef.h>
#include <stdint.h>

/**
 * @brief Decodes a quadrature encoder sourced from any cached input-state bits.
 *
 * The encoder is bound to one cached input-state entry inside an
 * @ref MUX through @ref init and then advanced by calling
 * @ref update repeatedly after the controller has refreshed its cached inputs.
 * One reported step in @ref delta or @ref position corresponds to one valid
 * quadrature edge.
 */
class Encoder {
public:
    /**
     * @brief Binds the decoder to one cached input-state entry and two source channels.
     *
     * The caller retains ownership of @p inputs and must keep it alive and
     * initialized for the lifetime of this encoder instance.
     *
     * @param inputs Mux holding the cached input masks.
     * @param mux_index Index of the cached input-state entry containing the encoder.
     * @param pin_a Channel number used for encoder phase A.
     * @param pin_b Channel number used for encoder phase B.
     *
     * @retval 0 The encoder configuration is valid.
     * @retval -EINVAL The cached state index or one or more channel numbers are
     *         out of range, or the two channels are duplicated.
     */
    int init(MUX &inputs, size_t mux_index, uint8_t pin_a, uint8_t pin_b);

    /**
     * @brief Reads the configured cached input state and advances the decoder.
     *
     * The most recent quarter-step movement can then be read with @ref delta.
     * If no valid edge was observed since the previous @ref update call,
     * @ref delta returns `0`.
     *
     * @retval 0 The cached input state was read and the decoder was updated.
     * @retval -EACCES The encoder has not been initialized.
     */
    int update();

    /**
     * @brief Returns the most recent quarter-step movement.
     *
     * @return `-1`, `0`, or `1` for the movement observed during the previous
     *         @ref update call.
     */
    int32_t delta() const;

    /**
     * @brief Returns the accumulated full-detent position.
     *
     * @return Signed position counter advanced by one per valid quadrature edge.
     */
    int32_t position() const;

private:
    /**
     * @brief Maps one AB transition to a quarter-step delta.
     *
     * @param previous_ab Previously sampled AB state packed into bits 1:0.
     * @param current_ab Currently sampled AB state packed into bits 1:0.
     *
     * @return `-1`, `0`, or `1` for reverse, invalid/no movement, or forward.
     */
    static int8_t transition_(uint8_t previous_ab, uint8_t current_ab);

    /** @brief Borrowed mux used to read cached input states. */
    MUX *inputs_ = nullptr;

    /** @brief Index of the configured cached input state inside @ref inputs_. */
    size_t mux_index_ = 0U;

    /** @brief MUX channel number carrying encoder phase A. */
    uint8_t pin_a_ = 0U;

    /** @brief MUX channel number carrying encoder phase B. */
    uint8_t pin_b_ = 0U;

    /** @brief Tracks whether one initial AB sample has been captured. */
    bool seeded_ = false;

    /** @brief Previously sampled AB state packed into bits 1:0. */
    uint8_t previous_ab_ = 0U;

    /** @brief Most recent quarter-step movement from @ref update. */
    int32_t delta_ = 0;

    /** @brief Running quarter-step position since the last @ref init. */
    int32_t position_ = 0;
};

#endif /* SRC_ENCODER_H_ */
```

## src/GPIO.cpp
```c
/*
 * GPIO.cpp
 *
 *  Created on: Mar 27, 2026
 *      Author: alax
 */

#include "GPIO.h"
#include "utils.h"

#include <errno.h>
#include <zephyr/devicetree.h>
#include <zephyr/device.h>
#include <zephyr/logging/log.h>
#include <zephyr/sys/util.h>

LOG_MODULE_REGISTER(gpio, LOG_LEVEL_INF);

#define GPIO_INPUT_PIN(node_label, signal_name)                    \
    {                                                              \
        .name = signal_name,                                       \
        .spec = GPIO_DT_SPEC_GET(DT_NODELABEL(node_label), gpios), \
    }

const GPIO::input_pin GPIO::input_pins[] = {
    GPIO_INPUT_PIN(enc10sw, "ENC10SW"),
    GPIO_INPUT_PIN(enc10a, "ENC10A"),
    GPIO_INPUT_PIN(enc10b, "ENC10B"),
    GPIO_INPUT_PIN(enc13sw, "ENC13SW"),
    GPIO_INPUT_PIN(enc13b, "ENC13B"),
    GPIO_INPUT_PIN(enc13a, "ENC13A"),
    GPIO_INPUT_PIN(enc14sw, "ENC14SW"),
    GPIO_INPUT_PIN(enc14b, "ENC14B"),
    GPIO_INPUT_PIN(enc14a, "ENC14A"),
};

const size_t GPIO::input_count = ARRAY_SIZE(GPIO::input_pins);

int GPIO::init() {
    initialized_ = false;

    for (size_t i = 0; i < input_count; ++i) {
        const gpio_dt_spec &spec = input_pins[i].spec;

        if (!gpio_is_ready_dt(&spec)) {
            LOG_ERR("%s controller not ready on %s pin %u", input_pins[i].name,
                    spec.port->name, (unsigned int)spec.pin);
            return -ENODEV;
        }

        const int ret = gpio_pin_configure_dt(&spec, GPIO_INPUT);
        if (ret < 0) {
            LOG_ERR("Failed to configure %s on %s pin %u: %d", input_pins[i].name,
                    spec.port->name, (unsigned int)spec.pin, ret);
            return ret;
        }

        LOG_INF("%s ready on %s pin %u", input_pins[i].name, spec.port->name,
                (unsigned int)spec.pin);
    }

    initialized_ = true;
    return 0;
}

int GPIO::read_pin(size_t input_index, bool *active) {
    if ((input_index >= input_count) || (active == nullptr)) {
        return -EINVAL;
    }

    if (!initialized_) {
        LOG_ERR("GPIO inputs not initialized");
        return -EACCES;
    }

    const gpio_dt_spec &spec = input_pins[input_index].spec;
    const int value = gpio_pin_get_raw(spec.port, spec.pin);
    if (value < 0) {
        LOG_ERR("Failed to read %s: %d", input_pins[input_index].name, value);
        return value;
    }

    *active = (value != 0);
    return 0;
}

int GPIO::read_state(uint16_t *active_mask) {
    if (active_mask == nullptr) {
        return -EINVAL;
    }

    *active_mask = 0U;

    for (size_t i = 0; i < input_count; ++i) {
        bool active = false;
        int ret = read_pin(i, &active);
        if (ret < 0) {
            return ret;
        }

        if (active) {
            *active_mask |= (uint16_t)(1U << i);
        }
    }

    return 0;
}

int GPIO::log_state() {
    uint16_t active_mask = 0U;
    const int ret = read_state(&active_mask);
    if (ret < 0) {
        return ret;
    }

    LOG_INF("GPIO raw mask: 0x%04x", active_mask);

    return 0;
}

int GPIO::log_state_binary() {
    uint16_t active_mask = 0U;
    const int ret = read_state(&active_mask);
    if (ret < 0) {
        return ret;
    }

    char binary_mask[17];
    mask_to_binary_string(active_mask, binary_mask, sizeof(binary_mask));
    LOG_INF("GPIO raw mask: 0b%s", binary_mask);

    return 0;
}
```

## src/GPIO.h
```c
/*
 * GPIO.h
 *
 *  Created on: Mar 27, 2026
 *      Author: alax
 */

#ifndef SRC_GPIO_H_
#define SRC_GPIO_H_

#include <zephyr/drivers/gpio.h>

#include <stddef.h>
#include <stdint.h>

/**
 * @brief Reads the discrete encoder GPIO inputs described in devicetree.
 */
class GPIO {
public:
    /** @brief Total number of configured GPIO inputs. */
    static const size_t input_count;

    /** @brief Constructs a GPIO input facade. */
    GPIO() = default;

    /**
     * @brief Verifies GPIO availability and configures each pin as an input.
     *
     * @retval 0 Initialization completed successfully.
     * @retval -ENODEV At least one GPIO controller is not ready.
     * @retval negative Driver-specific error returned while configuring a pin.
     */
    int init();

    /**
     * @brief Reads one configured input.
     *
     * @param input_index Index in the configured GPIO table.
     * @param active Output raw physical pin level, where `true` means high.
     *
     * @retval 0 The input was read successfully.
     * @retval -EACCES The GPIO subsystem has not been initialized.
     * @retval -EINVAL The input index is invalid or @p active is null.
     * @retval negative Driver-specific error returned by the GPIO driver.
     */
    int read_pin(size_t input_index, bool *active);

    /**
     * @brief Reads all configured inputs and returns one raw-high bitmask.
     *
     * @param active_mask Output bitmask for all configured GPIO inputs, where
     *        each set bit represents one raw high level.
     *
     * @retval 0 All inputs were read successfully.
     * @retval negative Error propagated from @ref read_pin.
     */
    int read_state(uint16_t *active_mask);

    /**
     * @brief Reads all configured inputs and logs their current states.
     *
     * @retval 0 All inputs were read successfully.
     * @retval negative Error propagated from @ref read_state.
     */
    int log_state();

    /**
     * @brief Reads all configured inputs and logs their current states in binary form.
     *
     * @retval 0 All inputs were read successfully.
     * @retval negative Error propagated from @ref read_state.
     */
    int log_state_binary();

private:
    /** @brief Describes one configured GPIO input. */
    struct input_pin {
        /** @brief Human-readable signal name used for logs. */
        const char *name;

        /** @brief GPIO specification for the configured input. */
        gpio_dt_spec spec;
    };

    /** @brief Tracks whether @ref init completed successfully. */
    bool initialized_ = false;

    /** @brief Static table of GPIO inputs managed by this class. */
    static const input_pin input_pins[];
};

#endif /* SRC_GPIO_H_ */
```

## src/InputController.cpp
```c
/*
 * InputController.cpp
 *
 *  Created on: Mar 27, 2026
 *      Author: alax
 */

#include "InputController.h"

#include <errno.h>
#include <zephyr/logging/log.h>

LOG_MODULE_REGISTER(input_controller, LOG_LEVEL_INF);

int InputController::init() {
    initialized_ = false;

    const int ret = mux_.init();
    if (ret < 0) {
        return ret;
    }

    for (size_t i = 0U; i < input_count; ++i) {
        previous_masks_[i] = 1U;
    }

    initialized_ = true;
    return 0;
}

int InputController::update() {
    if (!initialized_) {
        return -EACCES;
    }

    for (size_t i = 0; i < mux_count_; ++i) {
        int ret = mux_.read_state(i, &active_masks_[i]);
        if (ret < 0) {
            return ret;
        }
    }

    return 0;
}

int InputController::log_state() {
    if (!initialized_) {
        return -EACCES;
    }

    return mux_.log_state_binary();
}

uint16_t InputController::state(size_t state_index) const {
    if (state_index >= input_count) {
        return 0U;
    }

    return active_masks_[state_index];
}

void InputController::log_mux_changes()
{
    for (size_t state_index = 0U; state_index < input_count; ++state_index) {
        const uint16_t changed_mask = previous_masks_[state_index] ^ active_masks_[state_index];
        if (changed_mask == 0U) {
            continue;
        }

        for (uint8_t bit = 0U; bit < 16U; ++bit) {
            const uint16_t bit_mask = (uint16_t)(1U << bit);
            if ((changed_mask & bit_mask) == 0U) {
                continue;
            }

            const bool active = (active_masks_[state_index] & bit_mask) != 0U;
            LOG_INF("MUX %u bit %u changed to %u",
                    (unsigned int)state_index,
                    (unsigned int)bit,
                    active ? 1U : 0U);
        }

        previous_masks_[state_index] = active_masks_[state_index];
    }
}
```

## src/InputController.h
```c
/*
 * InputController.h
 *
 *  Created on: Mar 27, 2026
 *      Author: alax
 */

#ifndef SRC_INPUTCONTROLLER_H_
#define SRC_INPUTCONTROLLER_H_

#include "MUX.h"

#include <stddef.h>
#include <stdint.h>

/**
 * @brief Aggregates all configured CD4067 inputs.
 */
class InputController {
public:
    /** @brief Total number of cached input state masks. */
    static const size_t input_count = MUX::mux_count;

    /** @brief Constructs an input controller facade. */
    InputController() = default;

    /**
     * @brief Initializes the CD4067 input subsystem.
     *
     * @retval 0 Initialization completed successfully.
     * @retval negative Error propagated from @ref MUX::init.
     */
    int init();

    /**
     * @brief Reads all configured mux inputs into cached bitmasks.
     *
     * @retval 0 All inputs were read successfully.
     * @retval -EACCES The input controller has not been initialized.
     * @retval negative Error propagated from @ref MUX::read_state.
     */
    int update();

    /**
     * @brief Logs the current mux input states.
     *
     * @retval 0 All input states were logged successfully.
     * @retval -EACCES The input controller has not been initialized.
     * @retval negative Error propagated from @ref MUX::log_state.
     */
    int log_state();

    /**
     * @brief Logs mux-bit transitions between the previous and current mux snapshots.
     */
    void log_mux_changes();

    /**
     * @brief Returns one cached raw input-state mask.
     *
     * @param state_index Index in the cached input state table.
     *
     * @return Cached 16-bit raw state mask, or `0` if @p state_index is invalid.
     */
    uint16_t state(size_t state_index) const;

private:
    /** @brief Total number of configured CD4067 instances. */
    static const size_t mux_count_ = MUX::mux_count;

    /** @brief Tracks whether @ref init completed successfully. */
    bool initialized_ = false;

    /** @brief CD4067 input facade. */
    MUX mux_;

    /** @brief Cached raw masks for all mux inputs. */
    uint16_t active_masks_[input_count] = {};

    /** @brief Previous cached input masks used for change logging. */
    uint16_t previous_masks_[input_count] = {};
};

#endif /* SRC_INPUTCONTROLLER_H_ */
```
